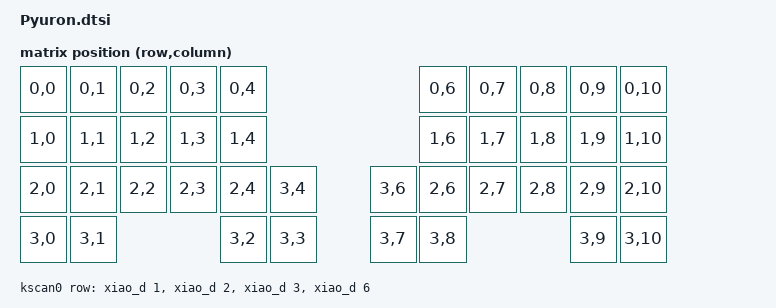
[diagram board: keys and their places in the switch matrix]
#include <dt-bindings/zmk/matrix_transform.h>
#include <dt-bindings/zmk/input_transform.h>
#include <dt-bindings/input/input-event-codes.h>
#include <dt-bindings/zmk/bt.h>
#include <input/processors.dtsi>
#include <physical_layouts.dtsi>

&uicr {
    nfct-pins-as-gpios;
};

/ {
    chosen {
        zmk,physical-layout = &default_layout;
    };

split_inputs {
      #address-cells = <1>;
      #size-cells = <0>;

      trackball_split_L: trackball_split_L@0 {
        compatible = "zmk,input-split";
        reg = <0>;
      };
    };

    /*
     * カーソルの加速 (zmk-input-processor-xy-accel)。ボールを転がす速さ (カウント/秒) に応じて
     * 移動量に倍率 (1000 = 等倍) を掛ける。速さ 0 で min-factor、speed-threshold で等倍、
     * speed-max 以上で max-factor になり、その間は直線で補間する。ゆっくり動かしたときは
     * カーソルを細かく動かし、速く動かしたときは遠くまで動かす。
     * 左右のトラックボールのリスナーで共有する (状態はリスナーごとに持つので、速さは混ざらない)。
     * ゆっくり動かしたときに遅すぎれば min-factor を上げ、速く動かしたときに飛びすぎれば
     * (Windows の「ポインターの精度を高める」と重なるときなど) max-factor を下げる (1000 で加速なし)
     */
    trackball_accel: trackball_accel {
        compatible = "zmk,input-processor-xy-accel";
        #input-processor-cells = <0>;
        min-factor = <500>;
        max-factor = <1300>;
        speed-threshold = <1000>;
        speed-max = <4000>;
    };

    /*
     * 両トラックボール共通の挙動：
     *   通常レイヤー       → base の input-processors（カーソル移動）。
     *   SCRL(9) レイヤー時  → 子ノード scroller_* の input-processors（スクロール）。
     * input-listener は「マッチした子ノードが base を置換」する（process-next は付けない）
     * ため、子ノードは自己完結チェーンとして必要な processor を全て列挙する。
     * 各チェーン先頭の zip_temp_layer 8 でスクロール中も MOUS(8) を維持する。
     */
    trackball_listener_L: trackball_listener_L {
      compatible = "zmk,input-listener";
      status = "disabled";
      device = <&trackball_split_L>;

        // 通常: カーソル移動（AML自動有効化 + 軸補正 + 加速。左カーソルは上下反転のため Y_INVERT を外す）
        input-processors = <&zip_temp_layer 8 10000>,  // 8 = MOUS
                           <&zip_xy_transform (INPUT_TRANSFORM_XY_SWAP | INPUT_TRANSFORM_X_INVERT)>,
                           <&trackball_accel>;

        // SCRL(9) ではスクロール
        scroller_L {
            layers = <9>;  // 9 = SCRL
            input-processors = <&zip_temp_layer 8 10000>,
                               <&zip_xy_transform (INPUT_TRANSFORM_XY_SWAP | INPUT_TRANSFORM_X_INVERT | INPUT_TRANSFORM_Y_INVERT)>,
                               <&zip_xy_to_scroll_mapper>,
                               <&zip_scroll_scaler 1 16>;
        };
    };

    trackball_listener_R: trackball_listener_R {
      compatible = "zmk,input-listener";
      status = "disabled";

        // 通常: カーソル移動（AML自動有効化 + 軸補正 + 加速）
        input-processors = <&zip_temp_layer 8 10000>,  // 8 = MOUS
                           <&zip_xy_transform (INPUT_TRANSFORM_XY_SWAP | INPUT_TRANSFORM_Y_INVERT)>,
                           <&trackball_accel>;

        // SCRL(9) ではスクロール（縦スクロールは反転のため Y_INVERT を外す）
        scroller_R {
            layers = <9>;  // 9 = SCRL
            input-processors = <&zip_temp_layer 8 10000>,
                               <&zip_xy_transform (INPUT_TRANSFORM_XY_SWAP)>,
                               <&zip_xy_to_scroll_mapper>,
                               <&zip_scroll_scaler 1 16>;
        };
    };

    default_transform: keymap_transform_0 {
        compatible = "zmk,matrix-transform";
        columns = <11>;
        rows = <4>;               
        map = <
            RC(0,0) RC(0,1) RC(0,2) RC(0,3) RC(0,4)                     RC(0,6) RC(0,7) RC(0,8) RC(0,9) RC(0,10)
            RC(1,0) RC(1,1) RC(1,2) RC(1,3) RC(1,4)                     RC(1,6) RC(1,7) RC(1,8) RC(1,9) RC(1,10)
            RC(2,0) RC(2,1) RC(2,2) RC(2,3) RC(2,4) RC(3,4)     RC(3,6) RC(2,6) RC(2,7) RC(2,8) RC(2,9) RC(2,10)
            RC(3,0) RC(3,1)                 RC(3,2) RC(3,3)     RC(3,7) RC(3,8)                 RC(3,9) RC(3,10)
        >;
    };

    kscan0: kscan {
        compatible = "zmk,kscan-gpio-matrix";
        label = "KSCAN";
        diode-direction = "col2row";
        wakeup-source;

            row-gpios
                = <&xiao_d 1 (GPIO_ACTIVE_HIGH | GPIO_PULL_DOWN)> 
                , <&xiao_d 2 (GPIO_ACTIVE_HIGH | GPIO_PULL_DOWN)> 
                , <&xiao_d 3 (GPIO_ACTIVE_HIGH | GPIO_PULL_DOWN)> 
                , <&xiao_d 6 (GPIO_ACTIVE_HIGH | GPIO_PULL_DOWN)> 			
                ;
    };

    default_layout: default_layout {
        compatible = "zmk,physical-layout";
        display-name = "Default";

        kscan = <&kscan0>;
        transform = <&default_transform>;

        keys  //                     w   h    x    y     rot    rx    ry
            = <&key_physical_attrs 100 100    0    0       0     0     0>
            , <&key_physical_attrs 100 100  100    0       0     0     0>
            , <&key_physical_attrs 100 100  200    0       0     0     0>
            , <&key_physical_attrs 100 100  300    0       0     0     0>
            , <&key_physical_attrs 100 100  400    0       0     0     0>
            , <&key_physical_attrs 100 100  800    0       0     0     0>
            , <&key_physical_attrs 100 100  900    0       0     0     0>
            , <&key_physical_attrs 100 100 1000    0       0     0     0>
            , <&key_physical_attrs 100 100 1100    0       0     0     0>
            , <&key_physical_attrs 100 100 1200    0       0     0     0>
            , <&key_physical_attrs 100 100    0  100       0     0     0>
            , <&key_physical_attrs 100 100  100  100       0     0     0>
            , <&key_physical_attrs 100 100  200  100       0     0     0>
            , <&key_physical_attrs 100 100  300  100       0     0     0>
            , <&key_physical_attrs 100 100  400  100       0     0     0>
            , <&key_physical_attrs 100 100  800  100       0     0     0>
            , <&key_physical_attrs 100 100  900  100       0     0     0>
            , <&key_physical_attrs 100 100 1000  100       0     0     0>
            , <&key_physical_attrs 100 100 1100  100       0     0     0>
            , <&key_physical_attrs 100 100 1200  100       0     0     0>
            , <&key_physical_attrs 100 100    0  200       0     0     0>
            , <&key_physical_attrs 100 100  100  200       0     0     0>
            , <&key_physical_attrs 100 100  200  200       0     0     0>
            , <&key_physical_attrs 100 100  300  200       0     0     0>
            , <&key_physical_attrs 100 100  400  200       0     0     0>
            , <&key_physical_attrs 100 100  500  200       0     0     0>
            , <&key_physical_attrs 100 100  700  200       0     0     0>
            , <&key_physical_attrs 100 100  800  200       0     0     0>
            , <&key_physical_attrs 100 100  900  200       0     0     0>
            , <&key_physical_attrs 100 100 1000  200       0     0     0>
            , <&key_physical_attrs 100 100 1100  200       0     0     0>
            , <&key_physical_attrs 100 100 1200  200       0     0     0>
            , <&key_physical_attrs 100 100    0  300       0     0     0>
            , <&key_physical_attrs 100 100  100  300       0     0     0>
            , <&key_physical_attrs 100 100  400  300       0     0     0>
            , <&key_physical_attrs 100 100  500  300       0     0     0>
            , <&key_physical_attrs 100 100  700  300       0     0     0>
            , <&key_physical_attrs 100 100  800  300       0     0     0>
            , <&key_physical_attrs 100 100 1100  300       0     0     0>
            , <&key_physical_attrs 100 100 1200  300       0     0     0>
            ;
    };
};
